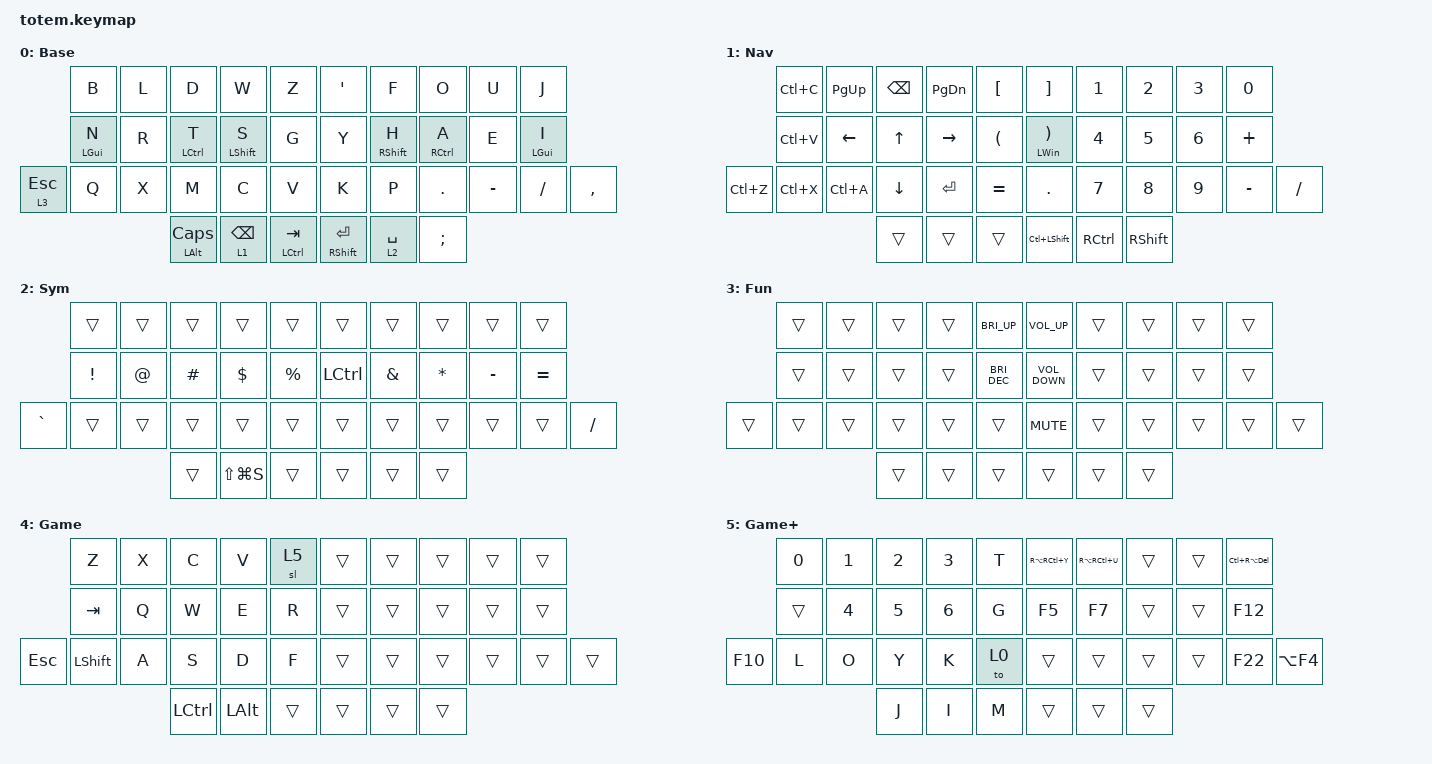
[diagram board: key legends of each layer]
//
//                                                        ▀▀▀▀▀     ▀▀▀▀▀          ▀▀█▀▀
//                                                        ▄▀▀▀▄  ▄  ▄▀▀▀▄  ▄  ▄▀▀▀▄  █  ▄▀▀▀▄
//                                                        █   █  █  █   █  █  █   █  █  █   █
//                                                         ▀▀▀   █   ▀▀▀   █   ▀▀▀   ▀   ▀▀▀
//                                                               █      ▄▄▄█▄▄▄    █   █  
//                                                               ▀      █  █  █     █▄█
//                                                             ▀▀▀▀▀    █  █  █      ▀
//                                                                      ▀  ▀  ▀
//
// ▄▄▄▄▄▄▄▄▄▄▄▄▄▄▄▄▄▄▄▄▄▄▄▄▄▄▄▄▄▄▄▄▄▄▄▄▄▄▄▄▄▄▄▄▄▄▄▄▄▄▄▄▄▄▄▄▄▄▄▄▄▄▄▄▄▄▄▄▄▄▄▄▄▄▄▄▄▄▄▄▄▄▄▄▄▄▄▄▄▄▄▄▄▄▄▄▄▄▄▄▄▄▄▄▄▄▄▄▄▄▄▄▄▄▄▄▄▄▄▄▄▄▄▄▄▄▄▄▄▄▄▄▄▄▄▄▄▄▄▄▄▄▄▄▄▄▄▄▄

#include <behaviors.dtsi>
#include <dt-bindings/zmk/keys.h>

#define Base        0
#define Nav         1
#define Sym         2
#define Fun         3
#define Game        4
#define Gameplus    5

&mt {
    quick-tap-ms = <100>;
    global-quick-tap;
    flavor = "tap-preferred";
    tapping-term-ms = <170>;
};

&lt {
    tapping-term-ms = <240>;
    flavor = "balanced";
    quick-tap-ms = <150>;
};

/ {
    behaviors {
        hm: homerow_mods {
            compatible = "zmk,behavior-hold-tap";
            label = "HOMEROW_MODS";
            #binding-cells = <2>;
            flavor = "tap-preferred";
            tapping-term-ms = <200>;
            quick-tap-ms = <125>;
            global-quick-tap;
            bindings = <&kp>, <&kp>;
        };
    };

    combos { compatible = "zmk,combos"; };

    keymap {
        compatible = "zmk,keymap";

        Base {
            display-name = "Base";
            bindings = <
              &kp B       &kp L  &kp D              &kp W            &kp Z                   &kp SQT                &kp F        &kp O          &kp U      &kp J
              &hm LGUI N  &kp R  &hm LCTRL T        &hm LSHIFT S     &kp G                   &kp Y                  &hm RSHFT H  &hm RCTRL A    &kp E      &hm LEFT_GUI I
&lt 3 ESCAPE  &kp Q       &kp X  &kp M              &kp C            &kp V                   &kp K                  &kp P        &kp PERIOD     &kp MINUS  &kp SLASH       &kp COMMA
                                 &hm LEFT_ALT CAPS  &lt 1 BACKSPACE  &hm LEFT_CONTROL TAB    &hm RIGHT_SHIFT ENTER  &lt 2 SPACE  &kp SEMICOLON
            >;
        };

        Nav {
            display-name = "Nav";
            bindings = <
           &kp LC(C)  &kp PAGE_UP  &kp BACKSPACE  &kp PAGE_DOWN  &kp LEFT_BRACKET        &kp RIGHT_BRACKET               &kp NUMBER_1       &kp NUMBER_2     &kp NUMBER_3  &kp NUMBER_0
           &kp LC(V)  &kp LEFT     &kp UP_ARROW   &kp RIGHT      &kp LEFT_PARENTHESIS    &hm LEFT_WIN RIGHT_PARENTHESIS  &kp NUMBER_4       &kp NUMBER_5     &kp NUMBER_6  &kp PLUS
&kp LC(Z)  &kp LC(X)  &kp LC(A)    &kp DOWN       &kp ENTER      &kp EQUAL               &kp PERIOD                      &kp NUMBER_7       &kp N8           &kp N9        &kp MINUS     &kp SLASH
                                   &trans         &trans         &trans                  &kp LC(LEFT_SHIFT)              &kp RIGHT_CONTROL  &kp RIGHT_SHIFT
            >;
        };

        Sym {
            display-name = "Sym";
            bindings = <
           &trans           &trans       &trans    &trans         &trans         &trans     &trans         &trans        &trans     &trans
           &kp EXCLAMATION  &kp AT_SIGN  &kp HASH  &kp DOLLAR     &kp PERCENT    &kp LCTRL  &kp AMPERSAND  &kp ASTERISK  &kp MINUS  &kp EQUAL
&kp GRAVE  &trans           &trans       &trans    &trans         &trans         &trans     &trans         &trans        &trans     &trans     &kp SLASH
                                         &trans    &kp LS(LG(S))  &trans         &trans     &trans         &trans
            >;
        };

        Mouse-Media {
            display-name = "Fun";
            bindings = <
        &trans  &trans  &trans  &trans  &kp C_BRI_UP            &kp C_VOLUME_UP    &trans  &trans  &trans  &trans
        &trans  &trans  &trans  &trans  &kp C_BRIGHTNESS_DEC    &kp C_VOLUME_DOWN  &trans  &trans  &trans  &trans
&trans  &trans  &trans  &trans  &trans  &trans                  &kp C_MUTE         &trans  &trans  &trans  &trans  &trans
                        &trans  &trans  &trans                  &trans             &trans  &trans
            >;
        };

        Gaming {
            display-name = "Game";
            bindings = <
            &kp Z           &kp X  &kp C      &kp V         &sl 5     &trans  &trans  &trans  &trans  &trans
            &kp TAB         &kp Q  &kp W      &kp E         &kp R     &trans  &trans  &trans  &trans  &trans
&kp ESCAPE  &kp LEFT_SHIFT  &kp A  &kp S      &kp D         &kp F     &trans  &trans  &trans  &trans  &trans  &trans
                                   &kp LCTRL  &kp LEFT_ALT  &trans    &trans  &trans  &trans
            >;
        };

        Gaming+ {
            display-name = "Game+";
            bindings = <
         &kp N0  &kp NUMBER_1  &kp NUMBER_2  &kp NUMBER_3  &kp T    &kp RA(RC(Y))  &kp RA(RC(U))  &trans  &trans  &kp LC(RA(DEL))
         &trans  &kp NUMBER_4  &kp N5        &kp NUMBER_6  &kp G    &kp F5         &kp F7         &trans  &trans  &kp F12
&kp F10  &kp L   &kp O         &kp Y         &kp K         &to 0    &trans         &trans         &trans  &trans  &kp F22          &kp LA(F4)
                               &kp J         &kp I         &kp M    &trans         &trans         &trans
            >;
        };
    };
};
